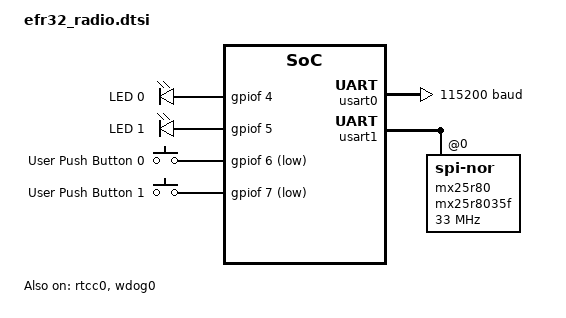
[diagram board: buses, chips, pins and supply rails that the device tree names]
/*
 * Copyright (c) 2020 Piotr Mienkowski
 *
 * SPDX-License-Identifier: Apache-2.0
 */

/ {
	chosen {
		zephyr,console = &usart0;
		zephyr,shell-uart = &usart0;
		zephyr,sram = &sram0;
		zephyr,flash = &flash0;
		zephyr,code-partition = &slot0_partition;
	};

	/* These aliases are provided for compatibility with samples */
	aliases {
		led0 = &led0;
		led1 = &led1;
		sw0 = &button0;
		sw1 = &button1;
		watchdog0 = &wdog0;
		spi-flash0 = &mx25r80;
	};

	leds {
		compatible = "gpio-leds";
		led0: led_0 {
			gpios = <&gpiof 4 0>;
			label = "LED 0";
		};
		led1: led_1 {
			gpios = <&gpiof 5 0>;
			label = "LED 1";
		};
	};

	buttons {
		compatible = "gpio-keys";
		button0: button_0 {
			/* gpio flags need validation */
			gpios = <&gpiof 6 GPIO_ACTIVE_LOW>;
			label = "User Push Button 0";
		};
		button1: button_1 {
			/* gpio flags need validation */
			gpios = <&gpiof 7 GPIO_ACTIVE_LOW>;
			label = "User Push Button 1";
		};
	};

};

&usart0 {
	current-speed = <115200>;
	location-rx = <GECKO_LOCATION(0) GECKO_PORT_A GECKO_PIN(1)>;
	location-tx = <GECKO_LOCATION(0) GECKO_PORT_A GECKO_PIN(0)>;
	status = "okay";
};

&usart1 {
	compatible = "silabs,gecko-spi-usart";

	#address-cells = <1>;
	#size-cells = <0>;

	location-rx = <GECKO_LOCATION(11) GECKO_PORT_C GECKO_PIN(7)>;
	location-tx = <GECKO_LOCATION(11) GECKO_PORT_C GECKO_PIN(6)>;
	location-clk = <GECKO_LOCATION(11) GECKO_PORT_C GECKO_PIN(8)>;

	cs-gpios = <&gpioa 4 GPIO_ACTIVE_LOW>;

	status = "okay";

	mx25r80: mx25r8035f@0 {
		compatible = "jedec,spi-nor";
		reg = <0>;
		spi-max-frequency = <33000000>;
		size = <0x800000>;
		jedec-id = [c2 28 14];
	};
};

&rtcc0 {
	prescaler = <1>;
	status = "okay";
};

&gpio {
	location-swo = <0>;
	status = "okay";
};

&gpioa {
	status = "okay";
};

&gpiob {
	status = "okay";
};

&gpioc {
	status = "okay";
};

&gpiod {
	status = "okay";
};

&gpiof {
	status = "okay";
};

&wdog0 {
	status = "okay";
};
